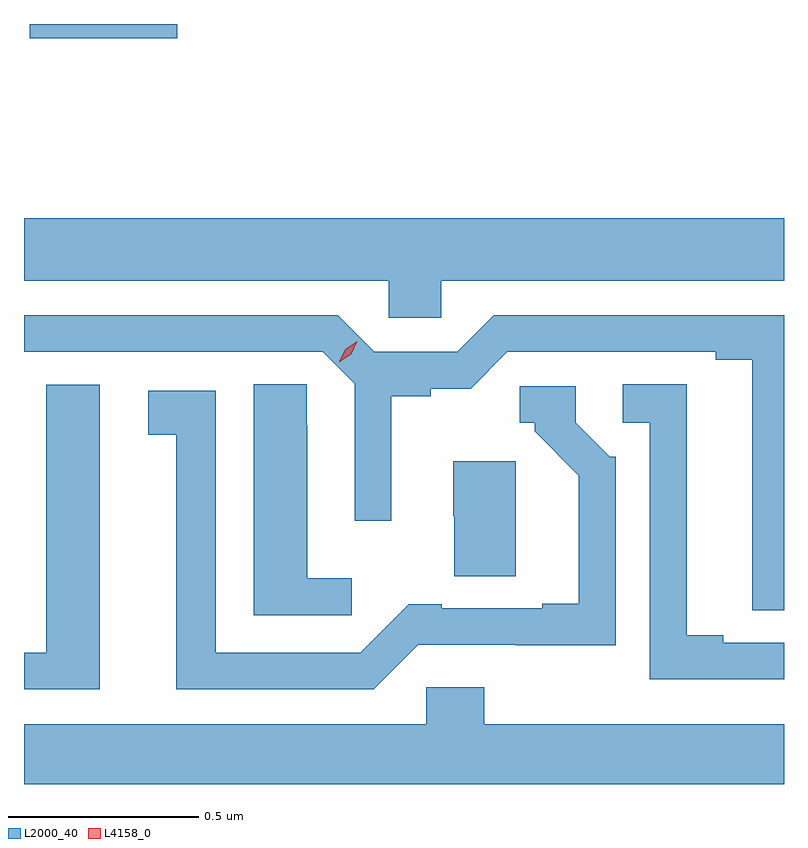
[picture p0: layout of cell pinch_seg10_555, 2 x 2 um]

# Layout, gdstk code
import gdstk
lib = gdstk.Library(unit=1e-6, precision=1e-09)
def R(c, l, rs):  # rectangles x0, y0, x1, y1
    for r in rs: c.add(gdstk.rectangle(r[:2], r[2:], *l))
def P(c, l, *ps):  # polygons
    for p in ps: c.add(gdstk.Polygon(p, *l))
L2000_40 = (2000, 40)
L4158_0 = (4158, 0)

pinch_seg10_555 = lib.new_cell('pinch_seg10_555')
R(pinch_seg10_555, L2000_40, [(157.566,1259.662,157.954,1259.699)])
P(pinch_seg10_555, L2000_40, [(158.649,1259.024),(159.551,1259.024),(159.551,1259.188),(157.551,1259.188),(157.551,1259.024),(158.511,1259.024),(158.511,1258.926),(158.649,1258.926)],
  [(159.551,1258.932),(158.787,1258.932),(158.691,1258.836),(158.473,1258.836),(158.377,1258.932),(157.551,1258.932),(157.551,1258.836),(158.337,1258.836),(158.421,1258.752),(158.421,1258.392),(158.518,1258.392),(158.518,1258.72),(158.622,1258.72),(158.622,1258.739),(158.726,1258.739),(158.823,1258.836),(159.371,1258.836),(159.371,1258.816),(159.467,1258.816),(159.467,1258.156),(159.551,1258.156)],
  [(159.551,1258.071),(159.391,1258.071),(159.391,1258.091),(159.295,1258.091),(159.295,1258.751),(159.126,1258.751),(159.126,1258.65),(159.198,1258.65),(159.198,1257.975),(159.551,1257.975)],
  [(158.413,1258.24),(158.296,1258.24),(158.296,1258.643),(158.295,1258.643),(158.295,1258.751),(158.156,1258.751),(158.156,1258.143),(158.413,1258.143)],
  [(157.75,1258.75),(157.61,1258.75),(157.61,1258.044),(157.551,1258.044),(157.551,1257.948),(157.75,1257.948)],
  [(158.589,1258.065),(158.845,1258.065),(158.845,1258.064),(159.108,1258.064),(159.108,1258.56),(159.093,1258.56),(159.003,1258.65),(159.003,1258.746),(158.856,1258.746),(158.856,1258.65),(158.895,1258.65),(158.895,1258.627),(159.011,1258.51),(159.011,1258.174),(158.915,1258.174),(158.915,1258.161),(158.65,1258.161),(158.65,1258.172),(158.564,1258.172),(158.436,1258.044),(158.056,1258.044),(158.056,1258.734),(157.878,1258.734),(157.878,1258.618),(157.952,1258.618),(157.952,1257.948),(158.472,1257.948)],
  [(158.845,1258.549),(158.681,1258.549),(158.681,1258.404),(158.683,1258.404),(158.683,1258.246),(158.845,1258.246)],
  [(159.551,1257.856),(158.762,1257.856),(158.762,1257.954),(158.61,1257.954),(158.61,1257.856),(157.551,1257.856),(157.551,1257.699),(159.551,1257.699)])
P(pinch_seg10_555, L4158_0, [(158.381,1258.809),(158.381,1258.81),(158.397,1258.843),(158.428,1258.864),(158.428,1258.864),(158.428,1258.864),(158.412,1258.83),(158.381,1258.809)])

lib.write_gds('pinch_seg10_555.gds')
